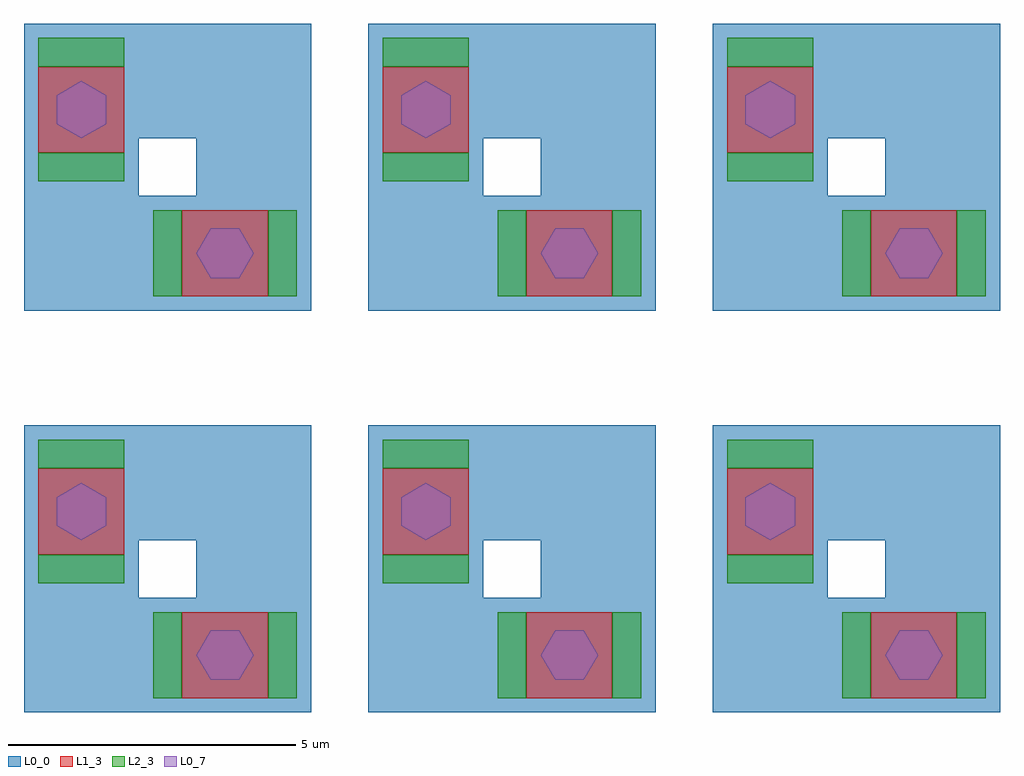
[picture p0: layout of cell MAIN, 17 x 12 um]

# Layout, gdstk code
from math import pi, radians
import gdstk
lib = gdstk.Library(unit=1e-6, precision=1e-09)
def R(c, l, rs):  # rectangles x0, y0, x1, y1
    for r in rs: c.add(gdstk.rectangle(r[:2], r[2:], *l))
def P(c, l, *ps):  # polygons
    for p in ps: c.add(gdstk.Polygon(p, *l))
L0_0 = (0, 0)
L0_7 = (0, 7)
L1_3 = (1, 3)
L2_3 = (2, 3)

contact = lib.new_cell('CONTACT')
P(contact, L0_7, [(1,-1.732),(2,0),(1,1.732),(-1,1.732),(-2,0),(-1,-1.732)])
R(contact, L1_3, [(-3,-3,3,3)])
R(contact, L2_3, [(-5,-3,-3,3), (3,-3,5,3)])

device = lib.new_cell('DEVICE')
P(device, L0_0, [(0,0),(5,0),(5,5),(0,5),(0,0),(2,2),(2,3),(3,3),(3,2),(2,2)])
device.add(gdstk.Reference(contact, (3.5,1), magnification=0.25))
device.add(gdstk.Reference(contact, (1,3.5), rotation=pi/2, magnification=0.25))

main = lib.new_cell('MAIN')
r = gdstk.Reference(device, (0,0)); r.repetition = gdstk.Repetition(3, 2, v1=(6,0), v2=(0,7)); main.add(r)

lib.write_gds('MAIN.gds')
